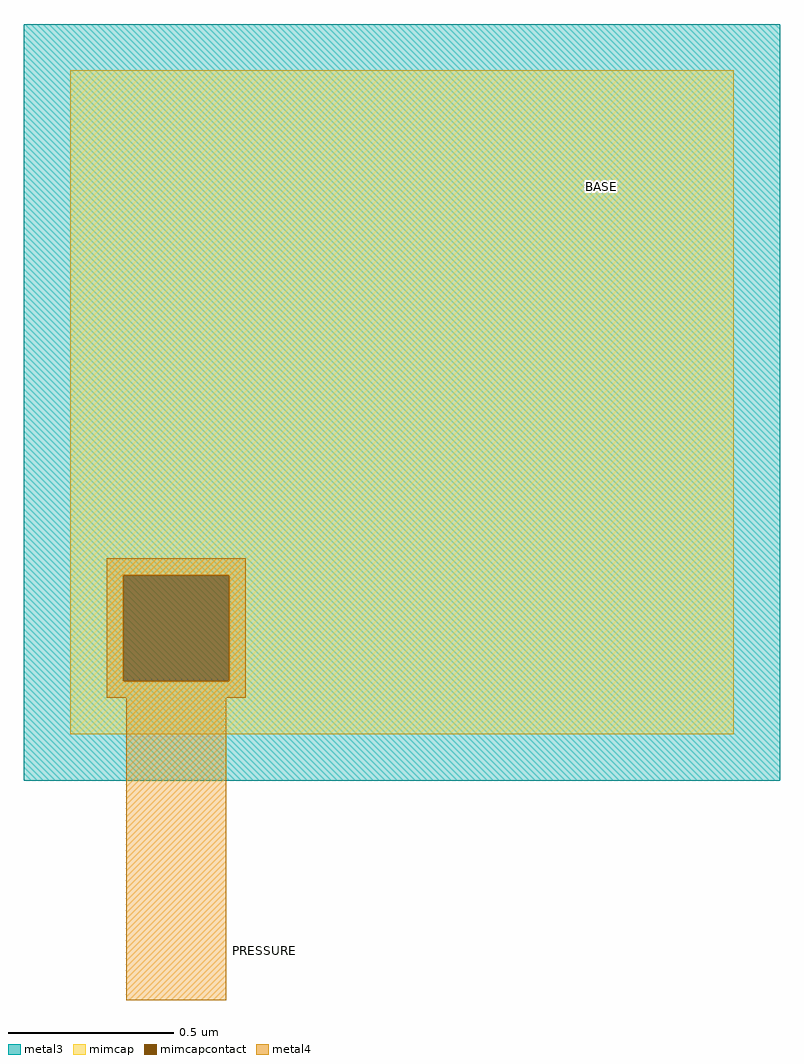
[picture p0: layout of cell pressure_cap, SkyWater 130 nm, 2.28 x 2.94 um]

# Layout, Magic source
magic
tech sky130A
<< metal3 >>
rect -14 115 214 214
rect -14 -14 214 115
<< mimcap >>
rect 0 48 200 200
rect 0 16 16 48
rect 48 16 200 48
rect 0 0 200 16
<< mimcapcontact >>
rect 16 16 48 48
<< metal4 >>
rect 11 48 53 53
rect 11 16 16 48
rect 48 16 53 48
rect 11 11 53 16
rect 17 -80 47 11
<< labels >>
flabel metal3 s 120 150 200 180 0 FreeSans 200 0 0 0 BASE
port 1 nsew
flabel metal4 s 17 -80 100 -50 0 FreeSans 200 0 0 0 PRESSURE
port 2 nsew
<< end >>
